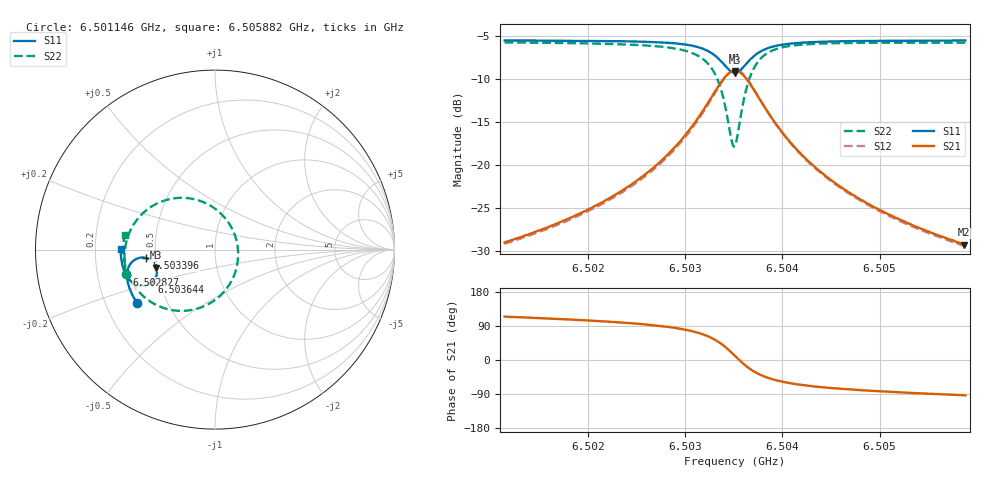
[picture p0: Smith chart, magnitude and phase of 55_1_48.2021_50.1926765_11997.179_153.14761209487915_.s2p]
#  HZ  S  RI  R  50.00
! Rohde & Schwarz Vector Network Analyzer
! Rohde-Schwarz,ZNB20-2Port,1311601062101988,3.16
! Created: UTC 3/20/2024, 11:38:31 AM
! freq[Hz]  re:S11  im:S11  re:S21  im:S21  re:S12  im:S12  re:S22  im:S22
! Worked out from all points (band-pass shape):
!   401 points, 6.501146 GHz to 6.505882 GHz, reference 50 ohm
!   highest |S21| = -9.07 dB at 6.503514 GHz (marker M1); lowest = -29.2 dB at 6.50587 GHz (marker M2)
!   |S21| within 3 dB of the highest: 6.503277 GHz to 6.503751 GHz (474 kHz wide, 0.00729 % of centre)
!   lowest |S11| = -9.3 dB at 6.503514 GHz (marker M3), VSWR 2.04, Z = 24.9 - j5.69 ohm
!   |S11| at or under -10 dB: nowhere
!   |S22| runs from -17.9 to -5.8 dB; largest |S21 - S12| = 0.012
!   S11 on the Smith chart (normalised r, x): 6.501146 GHz: 0.34, -0.28; 6.502827 GHz: 0.33, -0.13; 6.503396 GHz: 0.45, -0.05; 6.503644 GHz: 0.46, -0.20; 6.505882 GHz: 0.31, +0.00
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6.501146e9  -0.4351 -0.2962  -0.0147 0.0323  -0.013 0.0323  -0.4947 -0.1352
6.5019392e9  -0.4679 -0.2359  -0.0137 0.051  -0.0114 0.0506  -0.5045 -0.0472
6.5023655e9  -0.4821 -0.1969  -0.0106 0.071  -0.00751 0.0696  -0.4996 0.0165
6.5027325e9  -0.4899 -0.1544  -0.000436 0.1027  0.0031 0.1002  -0.4767 0.0951
6.5028272e9  -0.4902 -0.141  0.00545 0.1154  0.00922 0.1122  -0.4636 0.1218
6.5030285e9  -0.4846 -0.1063  0.0304 0.152  0.0339 0.1472  -0.4118 0.1929
6.5031706e9  -0.4682 -0.0758  0.0722 0.1871  0.0746 0.1809  -0.331 0.2528
6.5033008e9  -0.4307 -0.0487  0.1522 0.2133  0.1528 0.2068  -0.185 0.2886
6.5033955e9  -0.3823 -0.0466  0.2472 0.1951  0.2473 0.1904  -0.0205 0.242
6.5034784e9  -0.3379 -0.0775  0.3278 0.117  0.3304 0.1128  0.1081 0.0872
6.5035139e9  -0.3268 -0.1007  0.3457 0.0661  0.3495 0.0606  0.1288 -0.00853
6.5035376e9  -0.3238 -0.1177  0.3488 0.0301  0.3531 0.0232  0.1256 -0.0747
6.5035731e9  -0.3261 -0.1427  0.3408 -0.0219  0.3447 -0.0311  0.0961 -0.1671
6.5036442e9  -0.3493 -0.1813  0.2916 -0.1007  0.2918 -0.1126  -0.0199 -0.2941
6.5037507e9  -0.3967 -0.2023  0.2012 -0.1468  0.1956 -0.157  -0.2033 -0.341
6.5038928e9  -0.4423 -0.1944  0.1191 -0.1435  0.1117 -0.1493  -0.3516 -0.2952
6.5040585e9  -0.4722 -0.1734  0.0696 -0.1216  0.0629 -0.1242  -0.4319 -0.2256
6.5043072e9  -0.495 -0.1421  0.0356 -0.0939  0.0306 -0.0943  -0.4807 -0.1457
6.5046624e9  -0.511 -0.1037  0.0158 -0.0689  0.0123 -0.0685  -0.5041 -0.069
6.5051004e9  -0.5205 -0.0621  0.00538 -0.0511  0.00308 -0.0504  -0.5107 -0.0031
6.50587e9  -0.526 0.00406  -0.00178 -0.0345  -0.00321 -0.0338  -0.5041 0.0821
6.5058819e9  -0.526 0.00506  -0.00192 -0.0345  -0.00332 -0.0337  -0.5039 0.0832
